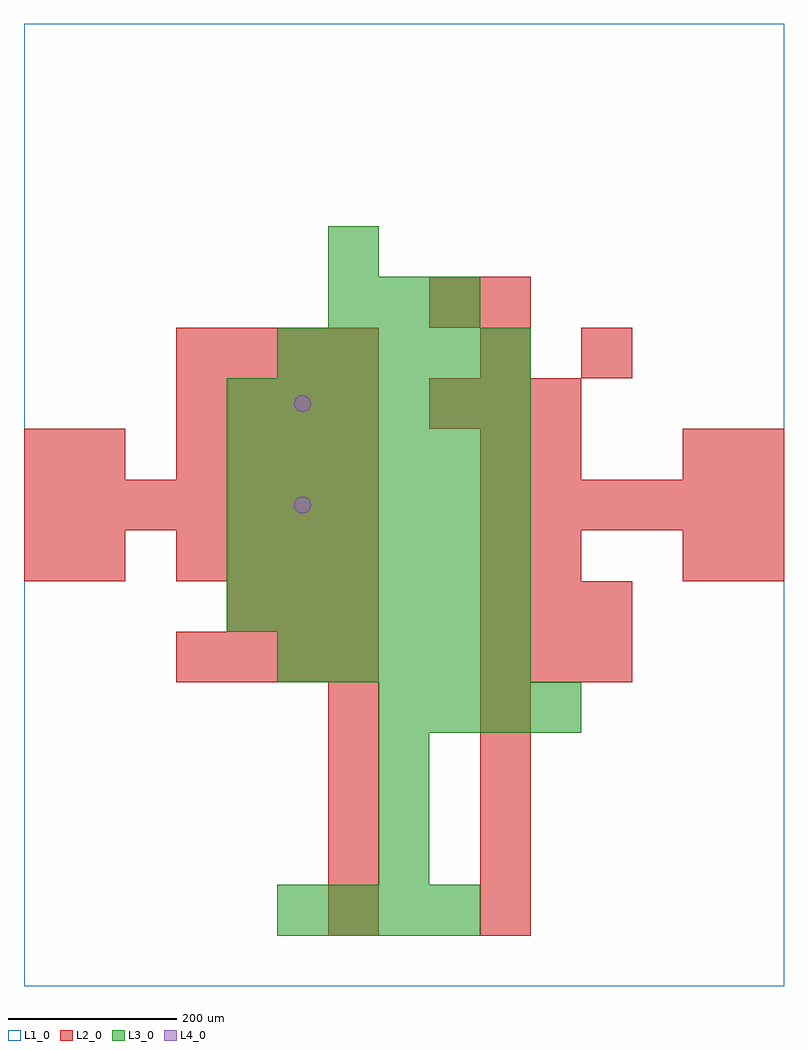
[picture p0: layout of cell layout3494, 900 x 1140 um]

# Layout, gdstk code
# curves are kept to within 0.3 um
import gdstk
lib = gdstk.Library(unit=1e-6, precision=1e-09)
def R(c, l, rs):  # rectangles x0, y0, x1, y1
    for r in rs: c.add(gdstk.rectangle(r[:2], r[2:], *l))
def A(c, l, x, y, w, h, nx, ny, dx, dy):  # array of equal rectangles
    R(c, l, [(x+i*dx, y+j*dy, x+i*dx+w, y+j*dy+h) for i in range(nx) for j in range(ny)])
def P(c, l, *ps):  # polygons
    for p in ps: c.add(gdstk.Polygon(p, *l))
L1_0 = (1, 0)
L2_0 = (2, 0)
L3_0 = (3, 0)
L4_0 = (4, 0)

layout3494 = lib.new_cell('layout3494')
R(layout3494, L1_0, [(0,0,900,1140)])
A(layout3494, L2_0, 360, 60, 60, 60, 1, 5, 0, 60)
A(layout3494, L2_0, 540, 60, 60, 60, 1, 5, 0, 60)
A(layout3494, L2_0, 180, 360, 60, 60, 4, 3, 60, 120)
A(layout3494, L2_0, 540, 360, 60, 60, 3, 2, 60, 60)
A(layout3494, L2_0, 240, 420, 60, 60, 3, 1, 60, 0)
A(layout3494, L2_0, 540, 480, 60, 60, 1, 3, 0, 120)
A(layout3494, L2_0, 0, 540, 60, 60, 7, 1, 60, 0)
A(layout3494, L2_0, 540, 540, 60, 60, 6, 1, 60, 0)
A(layout3494, L2_0, 180, 660, 60, 60, 4, 2, 60, 60)
A(layout3494, L2_0, 480, 660, 60, 60, 3, 1, 60, 0)
R(layout3494, L2_0, [(0,480,60,540), (60,480,120,540), (600,480,660,540), (780,480,840,540), (840,480,900,540), (0,600,60,660), (60,600,120,660), (600,600,660,660), (780,600,840,660), (840,600,900,660), (660,720,720,780), (480,780,540,840), (540,780,600,840)])
A(layout3494, L3_0, 300, 60, 60, 60, 4, 1, 60, 0)
A(layout3494, L3_0, 420, 120, 60, 60, 1, 3, 0, 60)
A(layout3494, L3_0, 420, 300, 60, 60, 4, 1, 60, 0)
A(layout3494, L3_0, 300, 360, 60, 60, 5, 2, 60, 360)
A(layout3494, L3_0, 240, 420, 60, 60, 6, 5, 60, 60)
A(layout3494, L3_0, 360, 780, 60, 60, 3, 1, 60, 0)
R(layout3494, L3_0, [(360,840,420,900)])
P(layout3494, L4_0, [(340,570),(339.239,573.827),(337.071,577.071),(333.827,579.239),(330,580),(326.173,579.239),(322.929,577.071),(320.761,573.827),(320,570),(320.761,566.173),(322.929,562.929),(326.173,560.761),(330,560),(333.827,560.761),(337.071,562.929),(339.239,566.173)],
  [(340,690),(339.239,693.827),(337.071,697.071),(333.827,699.239),(330,700),(326.173,699.239),(322.929,697.071),(320.761,693.827),(320,690),(320.761,686.173),(322.929,682.929),(326.173,680.761),(330,680),(333.827,680.761),(337.071,682.929),(339.239,686.173)])

lib.write_gds('layout3494.gds')
